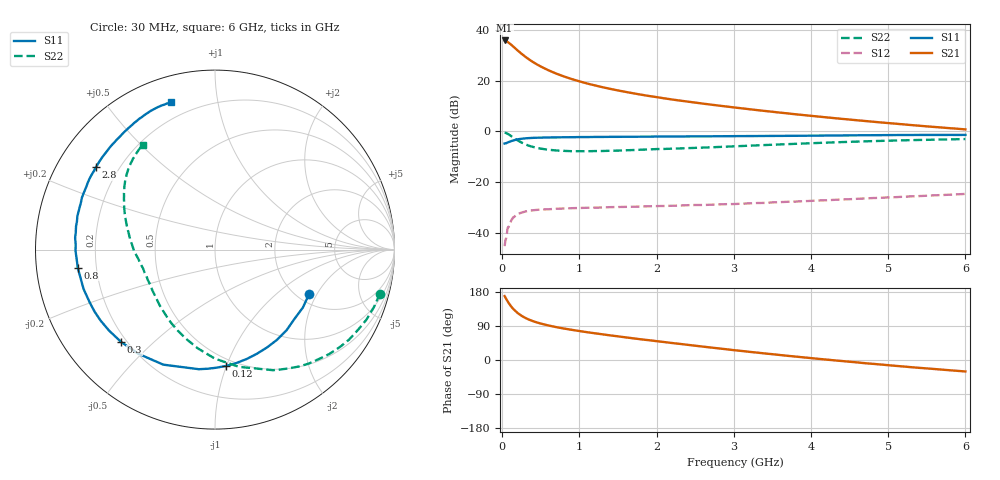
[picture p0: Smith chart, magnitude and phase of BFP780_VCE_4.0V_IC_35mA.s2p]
! Infineon Technologies  Discrete & RF Semiconductors
! BFP780
! VCE =  4.0 V,  IC =  35 mA
! Common Emitter S-Parameters:  Jul 2015
# GHz  S  MA  R  50
!  f  S11  S21  S12  S22
! GHz  MAG  ANG  MAG  ANG  MAG  ANG  MAG  ANG
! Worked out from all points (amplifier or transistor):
!   75 points, 30 MHz to 6 GHz, reference 50 ohm
!   highest |S21| = 35.8 dB at 30 MHz (marker M1)
!   |S21| within 3 dB of that: start of sweep to 164.7 MHz
!   unconditionally stable (mu >= 1): 2.108 GHz to end of sweep
!   at 150 MHz: K = 0.12, MSG = 33.4 dB, |S12| = -33.6 dB
!   at 2.3 GHz: K = 1.07, MAG = 19.0 dB, |S12| = -29.1 dB
!   at 6 GHz: K = 1.27, MAG = 9.6 dB, |S12| = -24.5 dB
!   S11 on the Smith chart (normalised r, x): 30 MHz: 2.31, -1.72; 120 MHz: 0.44, -1.00; 300 MHz: 0.18, -0.40; 800 MHz: 0.13, -0.06; 2.8 GHz: 0.12, +0.31; 6 GHz: 0.12, +0.74
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0.03  0.58 -25.2  61.33 168.7  0.0056 82.1  0.9519 -14.9
0.05  0.5876 -41.3  59.58 161.2  0.0081 67.2  0.9298 -24.8
0.07  0.6098 -55.4  57.2 154.5  0.0129 66.1  0.8997 -33.9
0.09  0.6257 -68.2  54.35 148.3  0.0145 60.0  0.862 -42.5
0.12  0.6509 -84.5  49.85 140.1  0.0185 51.5  0.803 -54.1
0.15  0.6724 -97.7  45.46 133.1  0.0208 47.5  0.7464 -64.2
0.2  0.7028 -114.2  38.88 123.8  0.0241 39.6  0.6665 -78.5
0.25  0.7205 -126.3  33.56 116.6  0.0255 33.8  0.6067 -90.2
0.3  0.7338 -135.5  29.22 110.9  0.0269 30.9  0.5584 -99.9
0.35  0.743 -142.6  25.77 106.2  0.0278 26.9  0.5224 -108.0
0.4  0.7503 -148.3  22.99 102.3  0.0284 24.9  0.4965 -114.8
0.5  0.7574 -156.9  18.82 96.1  0.0294 21.2  0.4598 -125.9
0.6  0.7645 -163.3  15.87 91.0  0.0297 19.2  0.4383 -134.5
0.8  0.7712 -172.5  12.02 83.0  0.0308 16.8  0.4164 -146.9
1.1  0.7768 177.8  8.754 73.3  0.0318 15.7  0.4094 -159.3
1.5  0.785 168.5  6.391 62.4  0.0329 15.3  0.4217 -169.7
2.1  0.7964 157.1  4.474 47.3  0.0345 16.1  0.4544 179.5
2.8  0.8068 145.3  3.233 30.7  0.037 17.7  0.4962 167.7
3.1  0.812 140.6  2.853 23.9  0.0382 18.1  0.5185 162.8
4.1  0.8296 126.3  1.961 3.0  0.0442 19.2  0.5961 148.3
5.1  0.8521 114.8  1.421 -15.5  0.0514 17.4  0.6653 135.7
6  0.8569 106.5  1.1 -30.3  0.0595 13.5  0.7101 124.6
